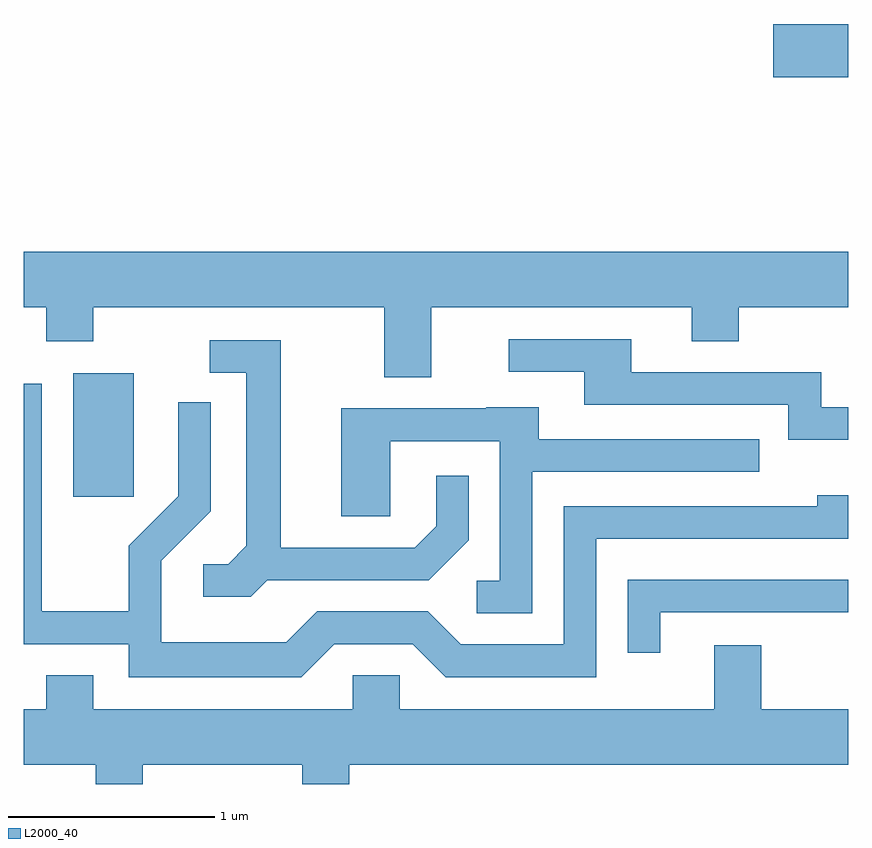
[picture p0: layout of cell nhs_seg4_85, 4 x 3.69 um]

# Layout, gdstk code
import gdstk
lib = gdstk.Library(unit=1e-6, precision=1e-09)
def R(c, l, rs):  # rectangles x0, y0, x1, y1
    for r in rs: c.add(gdstk.rectangle(r[:2], r[2:], *l))
def P(c, l, *ps):  # polygons
    for p in ps: c.add(gdstk.Polygon(p, *l))
L2000_40 = (2000, 40)

nhs_seg4_85 = lib.new_cell('nhs_seg4_85')
R(nhs_seg4_85, L2000_40, [(187.851,1289.376,188.144,1289.974), (191.246,1291.411,191.611,1291.669)])
P(nhs_seg4_85, L2000_40, [(189.589,1290.296),(190.851,1290.296),(190.851,1290.131),(191.079,1290.131),(191.079,1290.296),(191.611,1290.296),(191.611,1290.564),(187.611,1290.564),(187.611,1290.296),(187.721,1290.296),(187.721,1290.131),(187.949,1290.131),(187.949,1290.296),(189.361,1290.296),(189.361,1289.956),(189.589,1289.956)],
  [(191.611,1289.809),(191.479,1289.809),(191.479,1289.979),(190.559,1289.979),(190.559,1290.139),(189.963,1290.139),(189.963,1289.981),(190.331,1289.981),(190.331,1289.821),(191.321,1289.821),(191.321,1289.651),(191.611,1289.651)],
  [(188.792,1288.971),(189.577,1288.971),(189.769,1289.164),(189.769,1289.478),(189.611,1289.478),(189.611,1289.232),(189.509,1289.129),(188.859,1289.129),(188.859,1290.134),(188.513,1290.134),(188.513,1289.976),(188.691,1289.976),(188.691,1289.137),(188.604,1289.049),(188.483,1289.049),(188.483,1288.891),(188.712,1288.891)],
  [(189.117,1288.661),(189.499,1288.661),(189.659,1288.501),(190.389,1288.501),(190.389,1289.171),(191.611,1289.171),(191.611,1289.384),(191.461,1289.384),(191.461,1289.329),(190.231,1289.329),(190.231,1288.659),(189.732,1288.659),(189.572,1288.819),(189.034,1288.819),(188.884,1288.669),(188.279,1288.669),(188.279,1289.064),(188.519,1289.304),(188.519,1289.833),(188.361,1289.833),(188.361,1289.377),(188.121,1289.137),(188.121,1288.819),(187.699,1288.819),(187.699,1289.924),(187.611,1289.924),(187.611,1288.661),(188.121,1288.661),(188.121,1288.501),(188.957,1288.501)],
  [(190.079,1289.496),(191.178,1289.496),(191.178,1289.654),(190.109,1289.654),(190.109,1289.809),(189.855,1289.809),(189.855,1289.804),(189.151,1289.804),(189.151,1289.281),(189.389,1289.281),(189.389,1289.646),(189.921,1289.646),(189.921,1288.969),(189.808,1288.969),(189.808,1288.811),(190.079,1288.811)],
  [(190.699,1288.816),(191.611,1288.816),(191.611,1288.974),(190.541,1288.974),(190.541,1288.618),(190.699,1288.618)],
  [(188.189,1288.076),(188.961,1288.076),(188.961,1287.982),(189.189,1287.982),(189.189,1288.076),(191.611,1288.076),(191.611,1288.344),(191.189,1288.344),(191.189,1288.654),(190.961,1288.654),(190.961,1288.344),(189.434,1288.344),(189.434,1288.509),(189.206,1288.509),(189.206,1288.344),(187.949,1288.344),(187.949,1288.509),(187.721,1288.509),(187.721,1288.344),(187.611,1288.344),(187.611,1288.076),(187.961,1288.076),(187.961,1287.982),(188.189,1287.982)])

lib.write_gds('nhs_seg4_85.gds')
